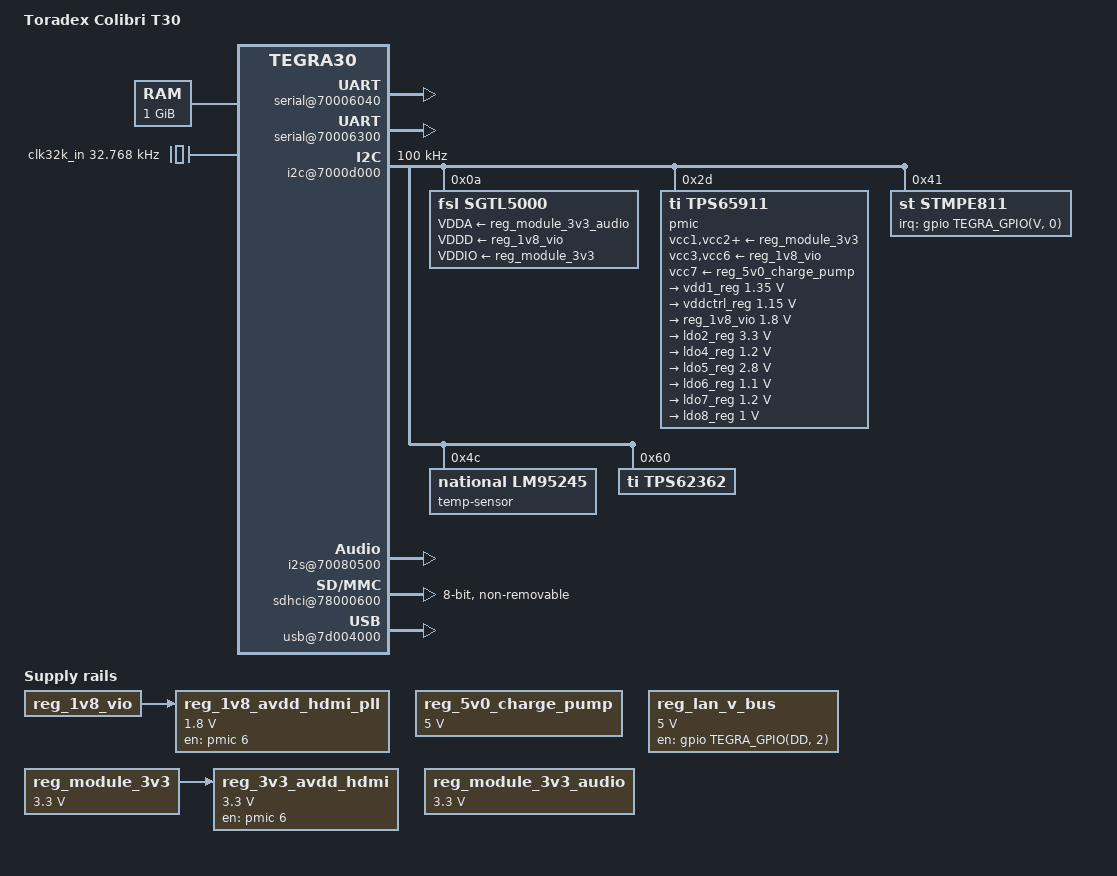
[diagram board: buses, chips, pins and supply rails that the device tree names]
// SPDX-License-Identifier: GPL-2.0
#include <dt-bindings/input/input.h>
#include "tegra30.dtsi"

/*
 * Toradex Colibri T30 Module Device Tree
 * Compatible for Revisions V1.1B, V1.1C, V1.1D, V1.1E; IT: V1.1A
 */
/ {
	model = "Toradex Colibri T30";
	compatible = "toradex,colibri_t30", "nvidia,tegra30";

	memory@80000000 {
		reg = <0x80000000 0x40000000>;
	};

	host1x@50000000 {
		hdmi@54280000 {
			nvidia,ddc-i2c-bus = <&hdmiddc>;
			nvidia,hpd-gpio =
				<&gpio TEGRA_GPIO(N, 7) GPIO_ACTIVE_HIGH>;
			pll-supply = <&reg_1v8_avdd_hdmi_pll>;
			vdd-supply = <&reg_3v3_avdd_hdmi>;
		};
	};

	pinmux@70000868 {
		pinctrl-names = "default";
		pinctrl-0 = <&state_default>;

		state_default: pinmux {
			/* Analogue Audio (On-module) */
			clk1-out-pw4 {
				nvidia,pins = "clk1_out_pw4";
				nvidia,function = "extperiph1";
				nvidia,pull = <TEGRA_PIN_PULL_NONE>;
				nvidia,tristate = <TEGRA_PIN_DISABLE>;
				nvidia,enable-input = <TEGRA_PIN_DISABLE>;
			};
			dap3-fs-pp0 {
				nvidia,pins = "dap3_fs_pp0",
					      "dap3_sclk_pp3",
					      "dap3_din_pp1",
					      "dap3_dout_pp2";
				nvidia,function = "i2s2";
				nvidia,pull = <TEGRA_PIN_PULL_NONE>;
				nvidia,tristate = <TEGRA_PIN_DISABLE>;
			};

			/* Colibri BL_ON */
			pv2 {
				nvidia,pins = "pv2";
				nvidia,function = "rsvd4";
				nvidia,pull = <TEGRA_PIN_PULL_NONE>;
				nvidia,tristate = <TEGRA_PIN_DISABLE>;
			};

			/* Colibri Backlight PWM<A> */
			sdmmc3-dat3-pb4 {
				nvidia,pins = "sdmmc3_dat3_pb4";
				nvidia,function = "pwm0";
				nvidia,pull = <TEGRA_PIN_PULL_NONE>;
				nvidia,tristate = <TEGRA_PIN_DISABLE>;
			};

			/* Colibri CAN_INT */
			kb-row8-ps0 {
				nvidia,pins = "kb_row8_ps0";
				nvidia,function = "kbc";
				nvidia,pull = <TEGRA_PIN_PULL_NONE>;
				nvidia,tristate = <TEGRA_PIN_DISABLE>;
				nvidia,enable-input = <TEGRA_PIN_ENABLE>;
			};

			/*
			 * Colibri L_BIAS, LCD_M1 is muxed with LCD_DE
			 * today's display need DE, disable LCD_M1
			 */
			lcd-m1-pw1 {
				nvidia,pins = "lcd_m1_pw1";
				nvidia,function = "rsvd3";
				nvidia,pull = <TEGRA_PIN_PULL_DOWN>;
				nvidia,tristate = <TEGRA_PIN_ENABLE>;
				nvidia,enable-input = <TEGRA_PIN_DISABLE>;
			};

			/* Colibri MMC */
			kb-row10-ps2 {
				nvidia,pins = "kb_row10_ps2";
				nvidia,function = "sdmmc2";
				nvidia,pull = <TEGRA_PIN_PULL_NONE>;
				nvidia,tristate = <TEGRA_PIN_DISABLE>;
			};
			kb-row11-ps3 {
				nvidia,pins = "kb_row11_ps3",
					      "kb_row12_ps4",
					      "kb_row13_ps5",
					      "kb_row14_ps6",
					      "kb_row15_ps7";
				nvidia,function = "sdmmc2";
				nvidia,pull = <TEGRA_PIN_PULL_UP>;
				nvidia,tristate = <TEGRA_PIN_DISABLE>;
			};

			/* Colibri SSP */
			ulpi-clk-py0 {
				nvidia,pins = "ulpi_clk_py0",
					      "ulpi_dir_py1",
					      "ulpi_nxt_py2",
					      "ulpi_stp_py3";
				nvidia,function = "spi1";
				nvidia,pull = <TEGRA_PIN_PULL_NONE>;
				nvidia,tristate = <TEGRA_PIN_DISABLE>;
			};
			/* Multiplexed SSPFRM, SSPTXD and therefore disabled */
			sdmmc3-dat6-pd3 {
				nvidia,pins = "sdmmc3_dat6_pd3",
					      "sdmmc3_dat7_pd4";
				nvidia,function = "spdif";
				nvidia,pull = <TEGRA_PIN_PULL_DOWN>;
				nvidia,tristate = <TEGRA_PIN_ENABLE>;
				nvidia,enable-input = <TEGRA_PIN_DISABLE>;
			};

			/* Colibri UART-A */
			ulpi-data0 {
				nvidia,pins = "ulpi_data0_po1",
					      "ulpi_data1_po2",
					      "ulpi_data2_po3",
					      "ulpi_data3_po4",
					      "ulpi_data4_po5",
					      "ulpi_data5_po6",
					      "ulpi_data6_po7",
					      "ulpi_data7_po0";
				nvidia,function = "uarta";
				nvidia,pull = <TEGRA_PIN_PULL_NONE>;
				nvidia,tristate = <TEGRA_PIN_DISABLE>;
			};

			/* Colibri UART-B */
			gmi-a16-pj7 {
				nvidia,pins = "gmi_a16_pj7",
					      "gmi_a17_pb0",
					      "gmi_a18_pb1",
					      "gmi_a19_pk7";
				nvidia,function = "uartd";
				nvidia,pull = <TEGRA_PIN_PULL_NONE>;
				nvidia,tristate = <TEGRA_PIN_DISABLE>;
			};

			/* Colibri UART-C */
			uart2-rxd {
				nvidia,pins = "uart2_rxd_pc3",
					      "uart2_txd_pc2";
				nvidia,function = "uartb";
				nvidia,pull = <TEGRA_PIN_PULL_NONE>;
				nvidia,tristate = <TEGRA_PIN_DISABLE>;
			};

			/* eMMC (On-module) */
			sdmmc4-clk-pcc4 {
				nvidia,pins = "sdmmc4_clk_pcc4",
					      "sdmmc4_cmd_pt7",
					      "sdmmc4_rst_n_pcc3";
				nvidia,function = "sdmmc4";
				nvidia,pull = <TEGRA_PIN_PULL_NONE>;
				nvidia,tristate = <TEGRA_PIN_DISABLE>;
				nvidia,enable-input = <TEGRA_PIN_ENABLE>;
			};
			sdmmc4-dat0-paa0 {
				nvidia,pins = "sdmmc4_dat0_paa0",
					      "sdmmc4_dat1_paa1",
					      "sdmmc4_dat2_paa2",
					      "sdmmc4_dat3_paa3",
					      "sdmmc4_dat4_paa4",
					      "sdmmc4_dat5_paa5",
					      "sdmmc4_dat6_paa6",
					      "sdmmc4_dat7_paa7";
				nvidia,function = "sdmmc4";
				nvidia,pull = <TEGRA_PIN_PULL_UP>;
				nvidia,tristate = <TEGRA_PIN_DISABLE>;
				nvidia,enable-input = <TEGRA_PIN_ENABLE>;
			};

			/* Power I2C (On-module) */
			pwr-i2c-scl-pz6 {
				nvidia,pins = "pwr_i2c_scl_pz6",
					      "pwr_i2c_sda_pz7";
				nvidia,function = "i2cpwr";
				nvidia,pull = <TEGRA_PIN_PULL_NONE>;
				nvidia,tristate = <TEGRA_PIN_DISABLE>;
				nvidia,enable-input = <TEGRA_PIN_ENABLE>;
				nvidia,open-drain = <TEGRA_PIN_ENABLE>;
			};

			/*
			 * THERMD_ALERT#, unlatched I2C address pin of LM95245
			 * temperature sensor therefore requires disabling for
			 * now
			 */
			lcd-dc1-pd2 {
				nvidia,pins = "lcd_dc1_pd2";
				nvidia,function = "rsvd3";
				nvidia,pull = <TEGRA_PIN_PULL_DOWN>;
				nvidia,tristate = <TEGRA_PIN_ENABLE>;
				nvidia,enable-input = <TEGRA_PIN_DISABLE>;
			};

			/* TOUCH_PEN_INT# (On-module) */
			pv0 {
				nvidia,pins = "pv0";
				nvidia,function = "rsvd1";
				nvidia,pull = <TEGRA_PIN_PULL_NONE>;
				nvidia,tristate = <TEGRA_PIN_DISABLE>;
				nvidia,enable-input = <TEGRA_PIN_ENABLE>;
			};
		};
	};

	serial@70006040 {
		compatible = "nvidia,tegra30-hsuart";
	};

	serial@70006300 {
		compatible = "nvidia,tegra30-hsuart";
	};

	hdmiddc: i2c@7000c700 {
		clock-frequency = <10000>;
	};

	/*
	 * PWR_I2C: power I2C to audio codec, PMIC, temperature sensor and
	 * touch screen controller
	 */
	i2c@7000d000 {
		status = "okay";
		clock-frequency = <100000>;

		/* SGTL5000 audio codec */
		sgtl5000: codec@a {
			compatible = "fsl,sgtl5000";
			reg = <0x0a>;
			VDDA-supply = <&reg_module_3v3_audio>;
			VDDD-supply = <&reg_1v8_vio>;
			VDDIO-supply = <&reg_module_3v3>;
			clocks = <&tegra_car TEGRA30_CLK_EXTERN1>;
		};

		pmic: tps65911@2d {
			compatible = "ti,tps65911";
			reg = <0x2d>;

			interrupts = <GIC_SPI 86 IRQ_TYPE_LEVEL_HIGH>;
			#interrupt-cells = <2>;
			interrupt-controller;

			ti,system-power-controller;

			#gpio-cells = <2>;
			gpio-controller;

			vcc1-supply = <&reg_module_3v3>;
			vcc2-supply = <&reg_module_3v3>;
			vcc3-supply = <&reg_1v8_vio>;
			vcc4-supply = <&reg_module_3v3>;
			vcc5-supply = <&reg_module_3v3>;
			vcc6-supply = <&reg_1v8_vio>;
			vcc7-supply = <&reg_5v0_charge_pump>;
			vccio-supply = <&reg_module_3v3>;

			regulators {
				vdd1_reg: vdd1 {
					regulator-name = "+V1.35_VDDIO_DDR";
					regulator-min-microvolt = <1350000>;
					regulator-max-microvolt = <1350000>;
					regulator-always-on;
				};

				/* SW2: unused */

				vddctrl_reg: vddctrl {
					regulator-name = "+V1.0_VDD_CPU";
					regulator-min-microvolt = <1150000>;
					regulator-max-microvolt = <1150000>;
					regulator-always-on;
				};

				reg_1v8_vio: vio {
					regulator-name = "+V1.8";
					regulator-min-microvolt = <1800000>;
					regulator-max-microvolt = <1800000>;
					regulator-always-on;
				};

				/* LDO1: unused */

				/*
				 * EN_+V3.3 switching via FET:
				 * +V3.3_AUDIO_AVDD_S, +V3.3 and +V1.8_VDD_LAN
				 * see also +V3.3 fixed supply
				 */
				ldo2_reg: ldo2 {
					regulator-name = "EN_+V3.3";
					regulator-min-microvolt = <3300000>;
					regulator-max-microvolt = <3300000>;
					regulator-always-on;
				};

				/* LDO3: unused */

				ldo4_reg: ldo4 {
					regulator-name = "+V1.2_VDD_RTC";
					regulator-min-microvolt = <1200000>;
					regulator-max-microvolt = <1200000>;
					regulator-always-on;
				};

				/*
				 * +V2.8_AVDD_VDAC:
				 * only required for (unsupported) analog RGB
				 */
				ldo5_reg: ldo5 {
					regulator-name = "+V2.8_AVDD_VDAC";
					regulator-min-microvolt = <2800000>;
					regulator-max-microvolt = <2800000>;
					regulator-always-on;
				};

				/*
				 * +V1.05_AVDD_PLLE: avdd_plle should be 1.05V
				 * but LDO6 can't set voltage in 50mV
				 * granularity
				 */
				ldo6_reg: ldo6 {
					regulator-name = "+V1.05_AVDD_PLLE";
					regulator-min-microvolt = <1100000>;
					regulator-max-microvolt = <1100000>;
				};

				ldo7_reg: ldo7 {
					regulator-name = "+V1.2_AVDD_PLL";
					regulator-min-microvolt = <1200000>;
					regulator-max-microvolt = <1200000>;
					regulator-always-on;
				};

				ldo8_reg: ldo8 {
					regulator-name = "+V1.0_VDD_DDR_HS";
					regulator-min-microvolt = <1000000>;
					regulator-max-microvolt = <1000000>;
					regulator-always-on;
				};
			};
		};

		/* STMPE811 touch screen controller */
		stmpe811@41 {
			compatible = "st,stmpe811";
			reg = <0x41>;
			interrupts = <TEGRA_GPIO(V, 0) IRQ_TYPE_LEVEL_LOW>;
			interrupt-parent = <&gpio>;
			interrupt-controller;
			id = <0>;
			blocks = <0x5>;
			irq-trigger = <0x1>;

			stmpe_touchscreen {
				compatible = "st,stmpe-ts";
				/* 3.25 MHz ADC clock speed */
				st,adc-freq = <1>;
				/* 8 sample average control */
				st,ave-ctrl = <3>;
				/* 7 length fractional part in z */
				st,fraction-z = <7>;
				/*
				 * 50 mA typical 80 mA max touchscreen drivers
				 * current limit value
				 */
				st,i-drive = <1>;
				/* 12-bit ADC */
				st,mod-12b = <1>;
				/* internal ADC reference */
				st,ref-sel = <0>;
				/* ADC converstion time: 80 clocks */
				st,sample-time = <4>;
				/* 1 ms panel driver settling time */
				st,settling = <3>;
				/* 5 ms touch detect interrupt delay */
				st,touch-det-delay = <5>;
			};
		};

		/*
		 * LM95245 temperature sensor
		 * Note: OVERT_N directly connected to PMIC PWRDN
		 */
		temp-sensor@4c {
			compatible = "national,lm95245";
			reg = <0x4c>;
		};

		/* SW: +V1.2_VDD_CORE */
		tps62362@60 {
			compatible = "ti,tps62362";
			reg = <0x60>;

			regulator-name = "tps62362-vout";
			regulator-min-microvolt = <900000>;
			regulator-max-microvolt = <1400000>;
			regulator-boot-on;
			regulator-always-on;
			ti,vsel0-state-low;
			/* VSEL1: EN_CORE_DVFS_N low for DVFS */
			ti,vsel1-state-low;
		};
	};

	pmc@7000e400 {
		nvidia,invert-interrupt;
		nvidia,suspend-mode = <1>;
		nvidia,cpu-pwr-good-time = <5000>;
		nvidia,cpu-pwr-off-time = <5000>;
		nvidia,core-pwr-good-time = <3845 3845>;
		nvidia,core-pwr-off-time = <0>;
		nvidia,core-power-req-active-high;
		nvidia,sys-clock-req-active-high;
	};

	ahub@70080000 {
		i2s@70080500 {
			status = "okay";
		};
	};

	/* eMMC */
	sdhci@78000600 {
		status = "okay";
		bus-width = <8>;
		non-removable;
	};

	/* EHCI instance 1: USB2_DP/N -> AX88772B */
	usb@7d004000 {
		status = "okay";
		#address-cells = <1>;
		#size-cells = <0>;

		asix@1 {
			reg = <1>;
			local-mac-address = [00 00 00 00 00 00];
		};
	};

	usb-phy@7d004000 {
		status = "okay";
		nvidia,is-wired = <1>;
		vbus-supply = <&reg_lan_v_bus>;
	};

	clocks {
		compatible = "simple-bus";
		#address-cells = <1>;
		#size-cells = <0>;

		clk32k_in: clk@0 {
			compatible = "fixed-clock";
			reg = <0>;
			#clock-cells = <0>;
			clock-frequency = <32768>;
		};
	};

	reg_1v8_avdd_hdmi_pll: regulator-1v8-avdd-hdmi-pll {
		compatible = "regulator-fixed";
		regulator-name = "+V1.8_AVDD_HDMI_PLL";
		regulator-min-microvolt = <1800000>;
		regulator-max-microvolt = <1800000>;
		enable-active-high;
		gpio = <&pmic 6 GPIO_ACTIVE_HIGH>;
		vin-supply = <&reg_1v8_vio>;
	};

	reg_3v3_avdd_hdmi: regulator-3v3-avdd-hdmi {
		compatible = "regulator-fixed";
		regulator-name = "+V3.3_AVDD_HDMI";
		regulator-min-microvolt = <3300000>;
		regulator-max-microvolt = <3300000>;
		enable-active-high;
		gpio = <&pmic 6 GPIO_ACTIVE_HIGH>;
		vin-supply = <&reg_module_3v3>;
	};

	reg_5v0_charge_pump: regulator-5v0-charge-pump {
		compatible = "regulator-fixed";
		regulator-name = "+V5.0";
		regulator-min-microvolt = <5000000>;
		regulator-max-microvolt = <5000000>;
		regulator-always-on;
	};

	reg_lan_v_bus: regulator-lan-v-bus {
		compatible = "regulator-fixed";
		regulator-name = "LAN_V_BUS";
		regulator-min-microvolt = <5000000>;
		regulator-max-microvolt = <5000000>;
		enable-active-high;
		gpio = <&gpio TEGRA_GPIO(DD, 2) GPIO_ACTIVE_HIGH>;
	};

	reg_module_3v3: regulator-module-3v3 {
		compatible = "regulator-fixed";
		regulator-name = "+V3.3";
		regulator-min-microvolt = <3300000>;
		regulator-max-microvolt = <3300000>;
		regulator-always-on;
	};

	reg_module_3v3_audio: regulator-module-3v3-audio {
		compatible = "regulator-fixed";
		regulator-name = "+V3.3_AUDIO_AVDD_S";
		regulator-min-microvolt = <3300000>;
		regulator-max-microvolt = <3300000>;
		regulator-always-on;
	};

	sound {
		compatible = "toradex,tegra-audio-sgtl5000-colibri_t30",
			     "nvidia,tegra-audio-sgtl5000";
		nvidia,model = "Toradex Colibri T30";
		nvidia,audio-routing =
			"Headphone Jack", "HP_OUT",
			"LINE_IN", "Line In Jack",
			"MIC_IN", "Mic Jack";
		nvidia,i2s-controller = <&tegra_i2s2>;
		nvidia,audio-codec = <&sgtl5000>;
		clocks = <&tegra_car TEGRA30_CLK_PLL_A>,
			 <&tegra_car TEGRA30_CLK_PLL_A_OUT0>,
			 <&tegra_car TEGRA30_CLK_EXTERN1>;
		clock-names = "pll_a", "pll_a_out0", "mclk";
	};
};
